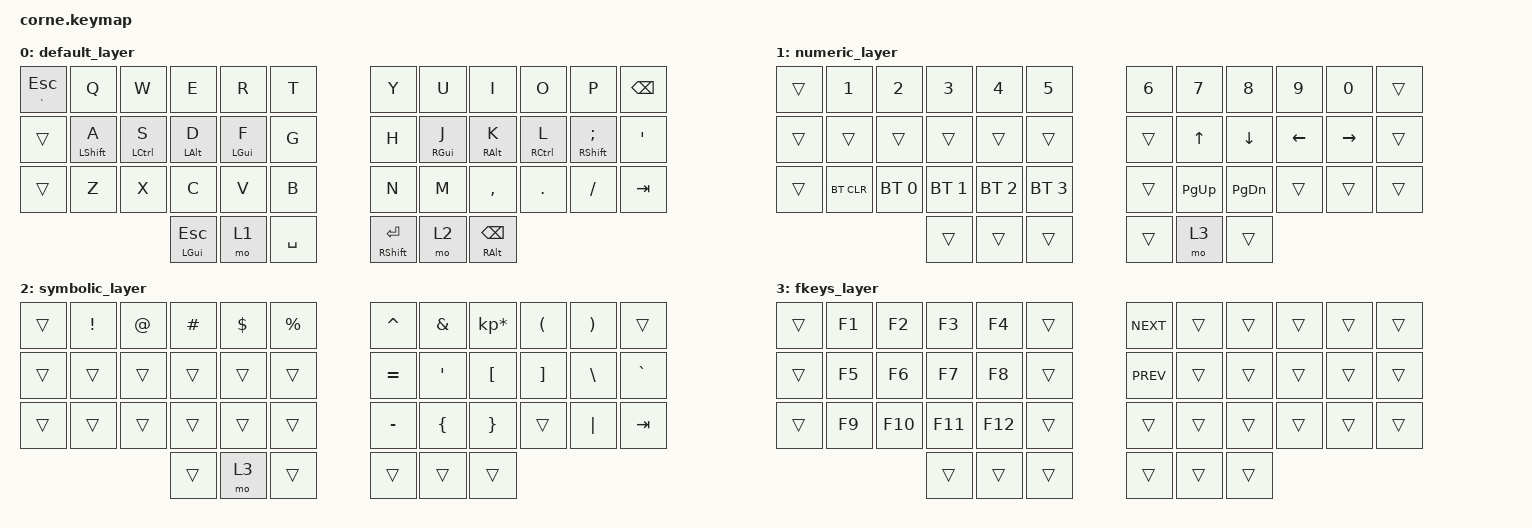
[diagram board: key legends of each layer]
/*
 * Copyright (c) 2020 The ZMK Contributors
 *
 * SPDX-License-Identifier: MIT
 */

#include <behaviors.dtsi>
#include <dt-bindings/zmk/keys.h>
#include <dt-bindings/zmk/bt.h>

/ {

  behaviors {
    hm: homerow_mods {
      compatible = "zmk,behavior-hold-tap";
      label = "HOMEROW_MODS";
      #binding-cells = <2>;
      tapping-term-ms = <170>;
      quick-tap-ms = <0>;
      flavor = "tap-preferred";
      bindings =
        <&kp>,
        <&kp>;
    };
  };


            macros {
        btab: btab {
            label = "btab";
            compatible = "zmk,behavior-macro";
            #binding-cells = <0>;
            bindings
                = <&macro_press &kp LSHFT>
                , <&macro_tap &kp TAB>
                , <&macro_release &kp LSHFT>
                ;
        };
    };

        combos {
                compatible = "zmk,combos";

                delete {
                        bindings = <&kp DELETE>;
                        key-positions = <8 9>;
                };

                backspace {
                        bindings = <&kp BSPC>;
                        key-positions = <7 8>;
                };

                tab {
                        bindings = <&kp TAB>;
                        key-positions = <32 33>;
                };

                backtab {
                        bindings = <&btab>;
                        key-positions = <31 32>;
                };
        };   

        keymap {
                compatible = "zmk,keymap";

                default_layer {
                        bindings = <
   &hm GRAVE ESC  &kp Q  &kp W  &kp E  &kp R  &kp T             &kp Y           &kp U  &kp I          &kp O    &kp P     &kp BSPC
   &trans     &hm LSHFT A  &hm LCTRL S  &hm LALT D  &hm LGUI F  &kp G             &kp H           &hm RGUI J  &hm RALT K          &hm RCTRL L    &hm RSHFT SEMI  &kp SQT
   &trans      &kp Z  &kp X  &kp C  &kp V  &kp B             &kp N           &kp M  &kp COMMA      &kp DOT  &kp FSLH  &kp TAB
                         &mt LGUI ESC  &mo 1  &kp SPACE         &mt RSHIFT RET  &mo 2  &mt RALT BSPC
                        >;
                };

                numeric_layer {
                        bindings = <
   &trans  &kp N1      &kp N2        &kp N3        &kp N4        &kp N5          &kp N6  &kp N7        &kp N8         &kp N9    &kp N0     &trans
   &trans  &trans      &trans        &trans        &trans        &trans          &trans  &kp UP        &kp DOWN       &kp LEFT  &kp RIGHT  &trans
   &trans  &bt BT_CLR  &bt BT_SEL 0  &bt BT_SEL 1  &bt BT_SEL 2  &bt BT_SEL 3    &trans  &kp PAGE_UP   &kp PAGE_DOWN  &trans    &trans     &trans
                                     &trans        &trans        &trans          &trans  &mo 3         &trans
                        >;
                };

                symbolic_layer {
                        bindings = <
   &trans  &kp EXCL    &kp AT        &kp HASH      &kp DLLR      &kp PRCNT         &kp CARET  &kp AMPS  &kp KP_MULTIPLY  &kp LPAR  &kp RPAR  &trans
   &trans  &trans      &trans        &trans        &trans        &trans            &kp EQUAL  &kp SQT   &kp LBKT         &kp RBKT  &kp BSLH  &kp GRAVE
   &trans  &trans      &trans        &trans        &trans        &trans            &kp MINUS  &kp LBRC  &kp RBRC         &trans    &kp PIPE  &kp TAB
                                     &trans        &mo 3         &trans            &trans     &trans    &trans
                        >;
                };

                fkeys_layer {
                        bindings = <
   &trans  &kp F1  &kp F2   &kp F3   &kp F4   &trans         &kp K_NEXT  &trans        &trans        &trans        &trans        &trans
   &trans  &kp F5  &kp F6   &kp F7   &kp F8   &trans         &kp K_PREV  &trans        &trans        &trans        &trans        &trans
   &trans  &kp F9  &kp F10  &kp F11  &kp F12  &trans         &trans      &trans        &trans        &trans        &trans        &trans
                            &trans   &trans   &trans         &trans      &trans        &trans
                        >;
                };
        };
};
